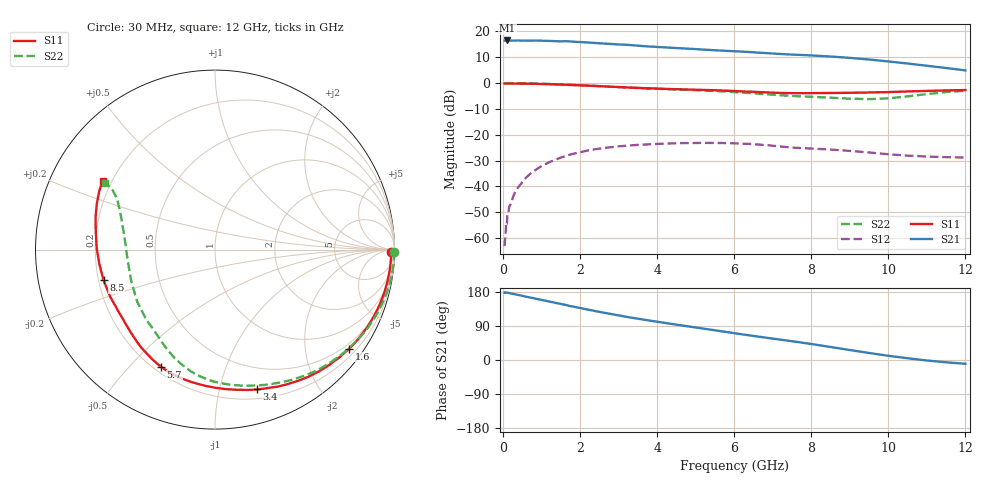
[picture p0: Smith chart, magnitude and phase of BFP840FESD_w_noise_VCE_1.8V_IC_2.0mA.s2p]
! Infineon Technologies  Discrete & RF Semiconductors
! BFP840FESD
! VCE =  1.8 V,  IC =  2.0 mA
! Common Emitter S-Parameters:  May 2012
# GHz  S  MA  R  50
!  f  S11  S21  S12  S22
! GHz  MAG  ANG  MAG  ANG  MAG  ANG  MAG  ANG
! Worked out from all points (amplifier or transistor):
!   103 points, 30 MHz to 12 GHz, reference 50 ohm
!   highest |S21| = 16.5 dB at 100 MHz (marker M1)
!   |S21| within 3 dB of that: start of sweep to 4.57 GHz
!   unconditionally stable (mu >= 1): 8.326 GHz to end of sweep
!   at 400 MHz: K = 0.03, MSG = 28.3 dB, |S12| = -40.0 dB
!   at 3.7 GHz: K = 0.22, MSG = 19.0 dB, |S12| = -23.8 dB
!   at 12 GHz: K = 1.54, MAG = 12.5 dB, |S12| = -28.8 dB
!   lowest NFmin = 0.53 dB at 450 MHz
!   S11 on the Smith chart (normalised r, x): 30 MHz: 76, -51; 1.6 GHz: 0.37, -3.00; 3.4 GHz: 0.28, -1.30; 5.7 GHz: 0.23, -0.62; 8.5 GHz: 0.22, -0.13; 12 GHz: 0.17, +0.27
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0.03  0.9821 -0.7  6.64 177.3  0.0007 85.2  0.9987 -0.7
0.04  0.9823 -0.9  6.625 177.2  0.0009 80.2  0.9987 -0.9
0.05  0.9812 -1.2  6.642 178.6  0.0011 79.1  1 -1.0
0.07  0.9817 -1.6  6.655 178.3  0.002 76.6  0.999 -1.4
0.09  0.9809 -2.1  6.682 177.8  0.0019 78.2  0.9988 -1.8
0.1  0.9817 -2.3  6.687 177.7  0.0027 90.3  0.9983 -2.0
0.3  0.9798 -6.9  6.656 173.4  0.0077 85.3  0.9968 -6.2
0.6  0.9738 -13.7  6.644 166.8  0.0152 79.4  0.9893 -12.3
0.9  0.9641 -20.5  6.65 160.5  0.0226 73.6  0.9779 -18.5
1.6  0.9297 -36.4  6.473 145.5  0.0385 60.6  0.9371 -33.2
2.1  0.8986 -47.3  6.167 134.9  0.048 51.4  0.9013 -43.8
2.8  0.8517 -61.6  5.718 121.2  0.0576 39.4  0.8486 -57.7
3.4  0.8129 -73.3  5.369 110.5  0.0632 30.7  0.809 -68.3
4.1  0.7782 -86.2  4.956 99.3  0.0671 22.1  0.7712 -79.2
4.9  0.7471 -101.1  4.598 87.2  0.0695 13.0  0.7348 -90.7
5.7  0.718 -114.8  4.242 75.2  0.0693 4.4  0.6905 -101.4
6.1  0.697 -121.7  4.11 69.2  0.0679 0.2  0.6628 -106.9
7.2  0.6463 -140.8  3.662 53.6  0.0594 -8.8  0.5816 -122.4
8.5  0.6442 -164.6  3.271 34.3  0.0518 -10.6  0.5216 -146.2
9.5  0.6588 179.6  2.861 18.5  0.0455 -11.3  0.4904 -173.0
10.5  0.6893 165.0  2.394 4.6  0.0395 -6.3  0.5547 160.7
12  0.7343 148.5  1.763 -10.0  0.0363 7.9  0.7139 148.9
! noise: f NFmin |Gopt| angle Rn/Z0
0.45  0.53  0.68  7  0.31
0.9  0.58  0.66  13  0.29
1.5  0.65  0.62  21  0.26
1.9  0.68  0.58  29  0.26
2.4  0.72  0.56  36  0.26
3.5  0.75  0.53  55  0.24
5.5  0.89  0.4  89  0.18
8  1.18  0.35  149  0.13
10  1.43  0.38  -169  0.11
12  1.63  0.52  -136  0.14
